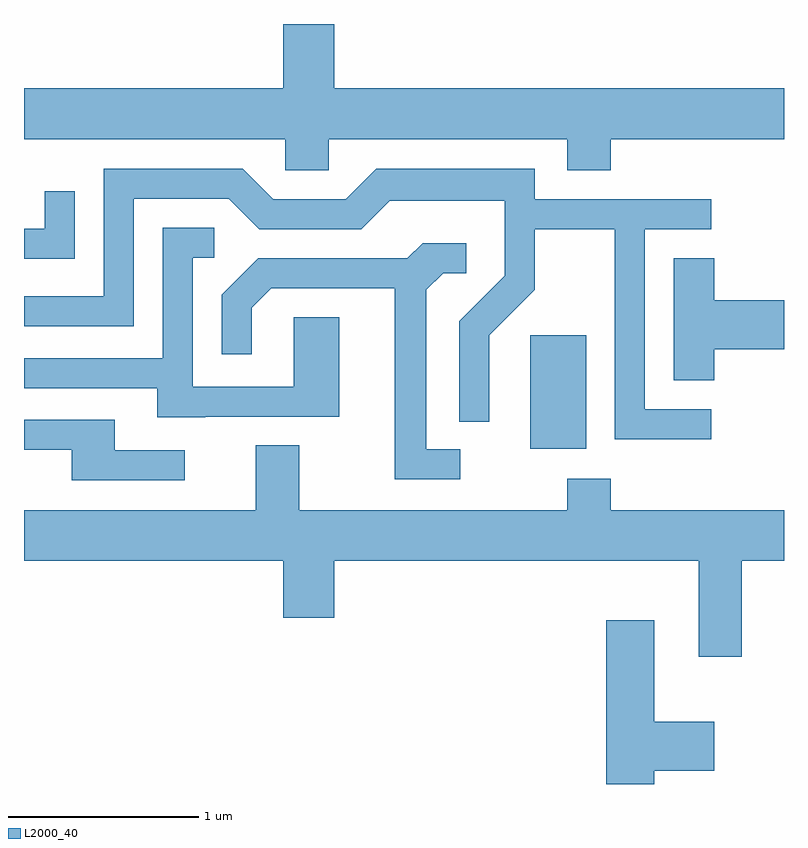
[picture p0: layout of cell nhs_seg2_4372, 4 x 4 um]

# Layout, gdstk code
import gdstk
lib = gdstk.Library(unit=1e-6, precision=1e-09)
def R(c, l, rs):  # rectangles x0, y0, x1, y1
    for r in rs: c.add(gdstk.rectangle(r[:2], r[2:], *l))
def P(c, l, *ps):  # polygons
    for p in ps: c.add(gdstk.Polygon(p, *l))
L2000_40 = (2000, 40)

nhs_seg2_4372 = lib.new_cell('nhs_seg2_4372')
R(nhs_seg2_4372, L2000_40, [(316.276,1055.566,316.569,1056.164)])
P(nhs_seg2_4372, L2000_40, [(315.214,1057.196),(316.471,1057.196),(316.471,1057.031),(316.699,1057.031),(316.699,1057.196),(317.611,1057.196),(317.611,1057.464),(315.244,1057.464),(315.244,1057.802),(314.976,1057.802),(314.976,1057.464),(313.611,1057.464),(313.611,1057.196),(314.986,1057.196),(314.986,1057.031),(315.214,1057.031)],
  [(317.228,1055.774),(316.879,1055.774),(316.879,1056.721),(317.228,1056.721),(317.228,1056.879),(316.299,1056.879),(316.299,1057.039),(315.464,1057.039),(315.304,1056.879),(314.922,1056.879),(314.762,1057.039),(314.031,1057.039),(314.031,1056.369),(313.611,1056.369),(313.611,1056.211),(314.189,1056.211),(314.189,1056.881),(314.689,1056.881),(314.849,1056.721),(315.387,1056.721),(315.537,1056.871),(316.141,1056.871),(316.141,1056.477),(315.901,1056.237),(315.901,1055.708),(316.059,1055.708),(316.059,1056.164),(316.299,1056.404),(316.299,1056.721),(316.721,1056.721),(316.721,1055.616),(317.228,1055.616)],
  [(313.879,1056.923),(313.721,1056.923),(313.721,1056.724),(313.611,1056.724),(313.611,1056.566),(313.879,1056.566)],
  [(314.565,1055.736),(315.269,1055.736),(315.269,1056.259),(315.031,1056.259),(315.031,1055.894),(314.499,1055.894),(314.499,1056.571),(314.613,1056.571),(314.613,1056.729),(314.341,1056.729),(314.341,1056.044),(313.611,1056.044),(313.611,1055.886),(314.311,1055.886),(314.311,1055.731),(314.565,1055.731)],
  [(315.908,1055.564),(315.729,1055.564),(315.729,1056.404),(315.817,1056.491),(315.938,1056.491),(315.938,1056.649),(315.709,1056.649),(315.629,1056.569),(314.844,1056.569),(314.651,1056.377),(314.651,1056.063),(314.809,1056.063),(314.809,1056.309),(314.912,1056.411),(315.561,1056.411),(315.561,1055.406),(315.908,1055.406)],
  [(317.244,1056.091),(317.611,1056.091),(317.611,1056.349),(317.244,1056.349),(317.244,1056.569),(317.031,1056.569),(317.031,1055.926),(317.244,1055.926)],
  [(314.458,1055.559),(314.089,1055.559),(314.089,1055.719),(313.611,1055.719),(313.611,1055.561),(313.861,1055.561),(313.861,1055.401),(314.458,1055.401)],
  [(317.389,1054.976),(317.611,1054.976),(317.611,1055.244),(316.699,1055.244),(316.699,1055.409),(316.471,1055.409),(316.471,1055.244),(315.059,1055.244),(315.059,1055.584),(314.831,1055.584),(314.831,1055.244),(313.611,1055.244),(313.611,1054.976),(314.976,1054.976),(314.976,1054.676),(315.244,1054.676),(315.244,1054.976),(317.161,1054.976),(317.161,1054.471),(317.389,1054.471)],
  [(316.929,1053.871),(317.244,1053.871),(317.244,1054.129),(316.929,1054.129),(316.929,1054.664),(316.676,1054.664),(316.676,1053.802),(316.929,1053.802)])

lib.write_gds('nhs_seg2_4372.gds')
